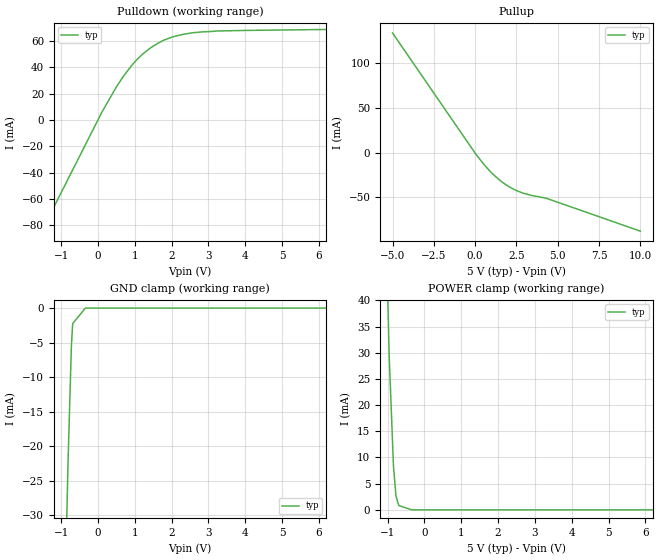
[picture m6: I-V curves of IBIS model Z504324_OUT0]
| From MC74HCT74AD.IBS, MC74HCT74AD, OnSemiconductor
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| (C) COPYRIGHT 1993-2000
| MENTOR GRAPHICS CORPORATION
| ICX STANDARD LIBRARY, ICX PROJECT MODELING,
| ICX CUSTOM MODELING, ICX VENDOR MODEL
| ALL RIGHTS RESERVED.
| THE FOLLOWING ARE TRADEMARKS OR SERVICE MARKS OF
| MENTOR GRAPHICS CORPORATION:ICX (R), ICX STANDARD
| LIBRARY(R), ICX PROJECT MODELING(R), ICX CUSTOM
| MODELING(R), qualityIBIS(TM), MODELVIEWER(TM),
| AND MODELEDITOR(TM)
| ALL COPIES OF SOFTWARE, INCLUDING BUT NOT LIMITED TO
| ANY MODIFICATIONS, ENHANCEMENTS OR DERIVATIVE WORKS,
| MUST CONTAIN ALL MENTOR GRAPHICS CORPORATION'S
| NOTICES AND LEGENDS, INCLUDING THOSE EMBEDDED IN
| SOFTWARE AND THOSE AFFIXED TO SOFTWARE MEDIUM
| AND CONTAINER, AS RECEIVED FROM MENTOR GRAPHICS
| CORPORATION.
| Model Application Version 1.89 2/18/99.
[Model] Z504324_OUT0
Model_type Output
Vref=0.000V
Rref=500.0Mohms
Cref=50.00pF
Vmeas=1.300V
C_comp 8.000pF NA NA
| variable typ   min   max
[Voltage Range] 5.000V NA NA
[POWER Clamp Reference] 5.000V NA NA
[Pullup Reference] 5.000V NA NA
[Pulldown Reference] 0.000V NA NA
[GND Clamp Reference] 0.000V NA NA
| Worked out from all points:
|   slope of the pulldown table from 0 to 0.75 V, typ, clamps not added: 21.2 ohm
|   slope of the pullup table from 0 to 0.75 V, typ, clamps not added: 43.7 ohm
|   POWER clamp passes 1 mA (typ) near -0.70 V on its own axis
[GND Clamp]
-5V       -1.316A    NA         NA
-1.133V   -98.15mA   NA         NA
-814.9mV  -22.48mA   NA         NA
-722.4mV  -5.44mA    NA         NA
-688.1mV  -2.261mA   NA         NA
-344mV    0A         NA         NA
10V       0A         NA         NA
[Pulldown]
-5V       -277mA     NA         NA
99.45mV   5.664mA    NA         NA
498.5mV   25.2mA     NA         NA
689mV     33.25mA    NA         NA
898.7mV   40.99mA    NA         NA
1.211V    50.19mA    NA         NA
1.445V    55.3mA     NA         NA
1.799V    60.9mA     NA         NA
2.33V     65.3mA     NA         NA
3.247V    67.77mA    NA         NA
10V       70.2mA     NA         NA
[Pullup]
-5V       133.9mA    NA         NA
40mV      -1.784mA   NA         NA
859mV     -20.13mA   NA         NA
1.388V    -29.49mA   NA         NA
1.997V    -37.74mA   NA         NA
2.81V     -44.92mA   NA         NA
4.375V    -51.69mA   NA         NA
10V       -88.13mA   NA         NA
[POWER Clamp]
-5V       1.433A     NA         NA
-1.104V   72.18mA    NA         NA
-956mV    29.63mA    NA         NA
-840mV    8.478mA    NA         NA
-771mV    2.606mA    NA         NA
-693mV    826.7uA    NA         NA
-346.5mV  0A         NA         NA
10V       0A         NA         NA
[Ramp]
| variable typ min max
dV/dt_r 2.785/1.004n NA NA
dV/dt_f 2.785/640.1p NA NA
R_load = 500.0Ohms
